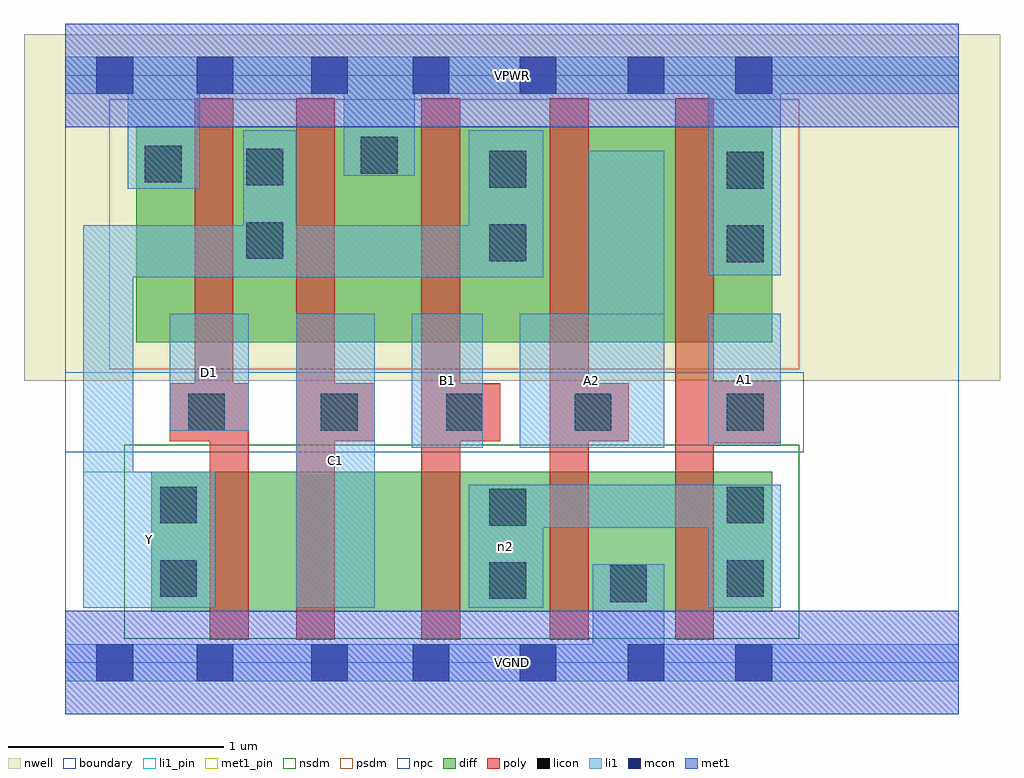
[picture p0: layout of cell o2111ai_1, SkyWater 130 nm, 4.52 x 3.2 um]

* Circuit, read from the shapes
.subckt o2111ai_1 A1 A2 B1 C1 D1 VGND VPWR Y n2
XM1 n1 D1 Y VSUBS sky130_fd_pr__nfet_01v8 w=0.65 l=0.18
XM2 n3 C1 n1 VSUBS sky130_fd_pr__nfet_01v8 w=0.65 l=0.18
XM3 n2 B1 n3 VSUBS sky130_fd_pr__nfet_01v8 w=0.65 l=0.18
XM4 VGND A2 n2 VSUBS sky130_fd_pr__nfet_01v8 w=0.65 l=0.18
XM5 n2 A1 VGND VSUBS sky130_fd_pr__nfet_01v8 w=0.65 l=0.18
XM6 Y D1 VPWR n4 sky130_fd_pr__pfet_01v8 w=1 l=0.18
XM7 VPWR C1 Y n4 sky130_fd_pr__pfet_01v8 w=1 l=0.18
XM8 Y B1 VPWR n4 sky130_fd_pr__pfet_01v8 w=1 l=0.18
XM9 n5 A2 Y n4 sky130_fd_pr__pfet_01v8 w=1 l=0.18
XM10 VPWR A1 n5 n4 sky130_fd_pr__pfet_01v8 w=1 l=0.18
.ends

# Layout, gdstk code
import gdstk
lib = gdstk.Library(unit=1e-6, precision=1e-09)
def R(c, l, rs):  # rectangles x0, y0, x1, y1
    for r in rs: c.add(gdstk.rectangle(r[:2], r[2:], *l))
def A(c, l, x, y, w, h, nx, ny, dx, dy):  # array of equal rectangles
    R(c, l, [(x+i*dx, y+j*dy, x+i*dx+w, y+j*dy+h) for i in range(nx) for j in range(ny)])
nwell = (64, 20)
diff = (65, 20)
poly = (66, 20)
licon = (66, 44)
li1_pin = (67, 16)
li1 = (67, 20)
mcon = (67, 44)
met1_pin = (68, 16)
met1 = (68, 20)
nsdm = (93, 44)
psdm = (94, 20)
npc = (95, 20)
boundary = (235, 4)

o2111ai_1 = lib.new_cell('o2111ai_1')
R(o2111ai_1, nwell, [(-0.19,1.305,4.33,2.91), (0,1.305,4.14,2.91)])
R(o2111ai_1, diff, [(0.4,0.235,3.275,0.885), (0.33,1.485,3.275,2.485)])
R(o2111ai_1, poly, [(0.67,0.105,0.78,2.615), (0.67,0.105,0.85,1.295), (1.07,0.105,1.25,2.615), (1.65,0.105,1.83,2.615), (2.245,0.105,2.425,2.615), (2.825,0.105,3.005,2.615), (2.825,1.015,3.315,1.305), (0.485,1.025,0.85,1.295), (0.6,1.025,0.67,2.615), (1.07,1.025,1.435,1.295), (1.65,1.025,2.015,1.295), (2.245,1.025,2.61,1.295)])
R(o2111ai_1, licon, [(2.525,0.28,2.695,0.45), (1.965,0.295,2.135,0.465), (0.44,0.305,0.61,0.475), (3.065,0.305,3.235,0.475), (1.965,0.635,2.135,0.805), (0.44,0.645,0.61,0.815), (3.065,0.645,3.235,0.815), (0.57,1.075,0.74,1.245), (1.185,1.075,1.355,1.245), (1.765,1.075,1.935,1.245), (2.36,1.075,2.53,1.245), (3.065,1.075,3.235,1.245), (3.065,1.855,3.235,2.025), (1.965,1.86,2.135,2.03), (0.84,1.87,1.01,2.04), (3.065,2.195,3.235,2.365), (1.965,2.2,2.135,2.37), (0.84,2.21,1.01,2.38), (0.37,2.225,0.54,2.395), (1.37,2.265,1.54,2.435)])
R(o2111ai_1, li1_pin, [(0.085,0.255,0.695,0.885), (1.07,0.255,1.435,1.615), (1.605,0.995,1.935,1.615), (2.105,0.995,2.775,1.615), (2.98,1.005,3.315,1.615), (0.485,1.075,0.85,1.615)])
R(o2111ai_1, li1, [(0,-0.085,4.14,0.085), (2.445,-0.085,2.775,0.455), (0.085,0.255,0.695,0.885), (0.085,0.255,0.315,2.025), (1.07,0.255,1.435,1.615), (1.87,0.255,2.215,0.825), (2.98,0.255,3.315,0.825), (1.87,0.625,3.315,0.825), (1.605,0.995,1.935,1.615), (2.105,0.995,2.775,1.615), (2.425,0.995,2.775,2.37), (2.98,1.005,3.315,1.615), (0.485,1.075,0.85,1.615), (0.085,1.785,2.215,2.025), (0.825,1.785,1.07,2.465), (1.87,1.785,2.215,2.465), (2.98,1.795,3.315,2.805), (0.29,2.195,0.625,2.805), (1.29,2.255,1.62,2.805), (0,2.635,4.14,2.805)])
A(o2111ai_1, mcon, 2.105, -0.085, 0.17, 0.17, 3, 2, 0.5, 2.72)
R(o2111ai_1, mcon, [(0.145,-0.085,0.315,0.085), (0.61,-0.085,0.78,0.085), (1.14,-0.085,1.31,0.085), (1.61,-0.085,1.78,0.085), (0.145,2.635,0.315,2.805), (0.61,2.635,0.78,2.805), (1.14,2.635,1.31,2.805), (1.61,2.635,1.78,2.805)])
R(o2111ai_1, met1_pin, [(0,-0.24,4.14,0.24), (0,2.48,4.14,2.96)])
R(o2111ai_1, met1, [(0,-0.24,4.14,0.24), (0,2.48,4.14,2.96)])
R(o2111ai_1, nsdm, [(0.275,0.11,3.4,1.01)])
R(o2111ai_1, psdm, [(0.205,1.36,3.4,2.61)])
R(o2111ai_1, npc, [(0,0.975,3.42,1.345)])
R(o2111ai_1, boundary, [(0,0,4.14,2.72)])
o2111ai_1.add(gdstk.Label('A1', (3.147,1.31), layer=67, texttype=5))
o2111ai_1.add(gdstk.Label('A2', (2.44,1.305), layer=67, texttype=5))
o2111ai_1.add(gdstk.Label('B1', (1.77,1.305), layer=67, texttype=5))
o2111ai_1.add(gdstk.Label('C1', (1.252,0.935), layer=67, texttype=5))
o2111ai_1.add(gdstk.Label('D1', (0.667,1.345), layer=67, texttype=5))
o2111ai_1.add(gdstk.Label('Y', (0.39,0.57), layer=67, texttype=5))
o2111ai_1.add(gdstk.Label('n2', (2.042,0.54), layer=67, texttype=5))
o2111ai_1.add(gdstk.Label('VPWR', (2.07,2.72), layer=68, texttype=5))
o2111ai_1.add(gdstk.Label('VGND', (2.07,0), layer=68, texttype=5))
o2111ai_1.add(gdstk.Label('A1', (3.147,1.31), layer=67, texttype=16))
o2111ai_1.add(gdstk.Label('A2', (2.44,1.305), layer=67, texttype=16))
o2111ai_1.add(gdstk.Label('B1', (1.77,1.305), layer=67, texttype=16))
o2111ai_1.add(gdstk.Label('C1', (1.252,0.935), layer=67, texttype=16))
o2111ai_1.add(gdstk.Label('D1', (0.667,1.345), layer=67, texttype=16))
o2111ai_1.add(gdstk.Label('Y', (0.39,0.57), layer=67, texttype=16))
o2111ai_1.add(gdstk.Label('VPWR', (2.07,2.72), layer=68, texttype=16))
o2111ai_1.add(gdstk.Label('VGND', (2.07,0), layer=68, texttype=16))

lib.write_gds('o2111ai_1.gds')
